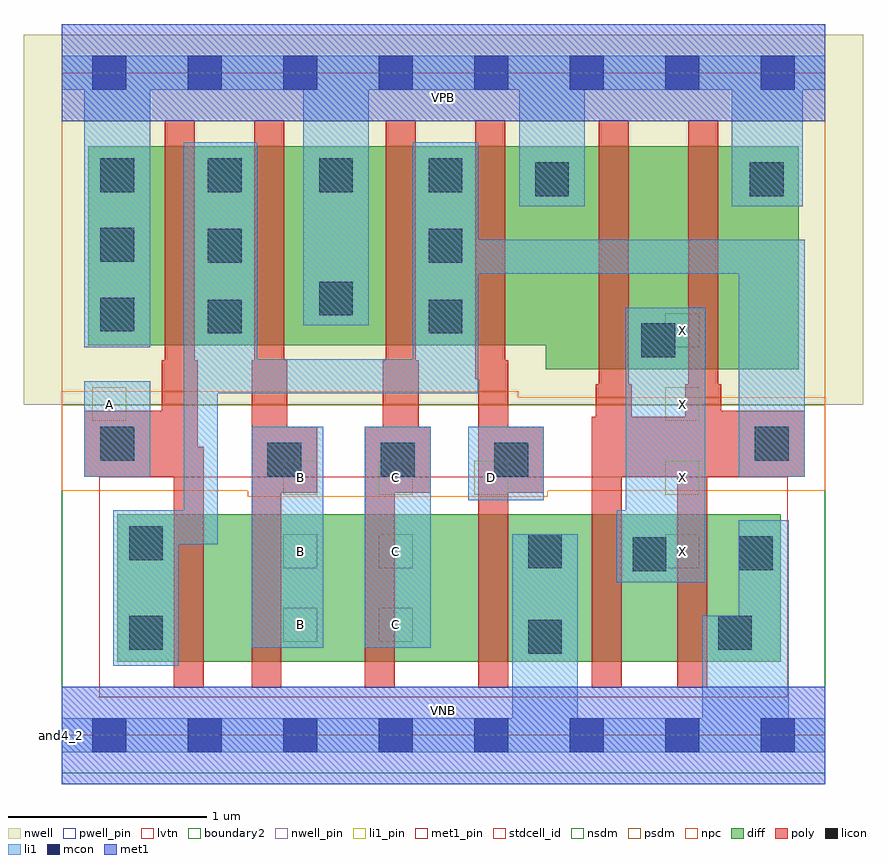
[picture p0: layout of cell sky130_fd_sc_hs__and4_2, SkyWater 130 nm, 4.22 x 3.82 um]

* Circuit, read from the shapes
.subckt sky130_fd_sc_hs__and4_2 A B C D VGND VNB VPB VPWR X
XM1 n1 A n2 VNB sky130_fd_pr__nfet_01v8_lvt w=0.74 l=0.15
XM2 n3 B n1 VNB sky130_fd_pr__nfet_01v8_lvt w=0.74 l=0.15
XM3 n4 C n3 VNB sky130_fd_pr__nfet_01v8_lvt w=0.74 l=0.15
XM4 VGND D n4 VNB sky130_fd_pr__nfet_01v8_lvt w=0.74 l=0.15
XM5 X n2 VGND VNB sky130_fd_pr__nfet_01v8_lvt w=0.74 l=0.15 m=2
XM6 n2 A VPWR VPB sky130_fd_pr__pfet_01v8 w=1 l=0.15
XM7 VPWR B n2 VPB sky130_fd_pr__pfet_01v8 w=1 l=0.15
XM8 n2 C VPWR VPB sky130_fd_pr__pfet_01v8 w=1 l=0.15
XM9 VPWR D n2 VPB sky130_fd_pr__pfet_01v8 w=1 l=0.15
XM10 X n2 VPWR VPB sky130_fd_pr__pfet_01v8 w=1.12 l=0.15 m=2
.ends

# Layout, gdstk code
import gdstk
lib = gdstk.Library(unit=1e-6, precision=1e-09)
def R(c, l, rs):  # rectangles x0, y0, x1, y1
    for r in rs: c.add(gdstk.rectangle(r[:2], r[2:], *l))
def A(c, l, x, y, w, h, nx, ny, dx, dy):  # array of equal rectangles
    R(c, l, [(x+i*dx, y+j*dy, x+i*dx+w, y+j*dy+h) for i in range(nx) for j in range(ny)])
def P(c, l, *ps):  # polygons
    for p in ps: c.add(gdstk.Polygon(p, *l))
nwell_pin = (64, 16)
nwell = (64, 20)
diff = (65, 20)
poly = (66, 20)
licon = (66, 44)
li1_pin = (67, 16)
li1 = (67, 20)
mcon = (67, 44)
met1_pin = (68, 16)
met1 = (68, 20)
stdcell_id = (81, 4)
nsdm = (93, 44)
psdm = (94, 20)
npc = (95, 20)
pwell_pin = (122, 16)
lvtn = (125, 44)
boundary2 = (236, 0)

sky130_fd_sc_hs__and4_2 = lib.new_cell('sky130_fd_sc_hs__and4_2')
R(sky130_fd_sc_hs__and4_2, nwell_pin, [(0,3.085,3.84,3.33)])
R(sky130_fd_sc_hs__and4_2, nwell, [(-0.19,1.66,4.03,3.52)])
R(sky130_fd_sc_hs__and4_2, diff, [(0.28,0.37,3.615,1.11)])
P(sky130_fd_sc_hs__and4_2, diff, [(3.705,2.96),(0.135,2.96),(0.135,1.96),(2.435,1.96),(2.435,1.84),(3.705,1.84)])
P(sky130_fd_sc_hs__and4_2, poly, [(3.735,1.63),(3.315,1.63),(3.315,1.765),(3.3,1.765),(3.3,3.09),(3.15,3.09),(3.15,1.765),(3.135,1.765),(3.135,1.6),(2.865,1.6),(2.865,1.765),(2.85,1.765),(2.85,3.09),(2.7,3.09),(2.7,1.765),(2.685,1.765),(2.685,1.6),(2.665,1.6),(2.665,0.24),(2.815,0.24),(2.815,1.3),(3.095,1.3),(3.095,0.24),(3.245,0.24),(3.245,1.3),(3.735,1.3)],
  [(2.425,1.55),(2.245,1.55),(2.245,1.885),(2.23,1.885),(2.23,3.09),(2.08,3.09),(2.08,1.79),(2.095,1.79),(2.095,0.24),(2.245,0.24),(2.245,1.22),(2.425,1.22)],
  [(1.855,1.55),(1.795,1.55),(1.795,1.885),(1.78,1.885),(1.78,3.09),(1.63,3.09),(1.63,1.885),(1.615,1.885),(1.615,1.55),(1.525,1.55),(1.525,0.24),(1.675,0.24),(1.675,1.22),(1.855,1.22)],
  [(1.285,1.55),(1.135,1.55),(1.135,1.885),(1.12,1.885),(1.12,3.09),(0.97,3.09),(0.97,1.885),(0.955,1.885),(0.955,0.24),(1.105,0.24),(1.105,1.22),(1.285,1.22)],
  [(0.715,1.45),(0.685,1.45),(0.685,1.885),(0.67,1.885),(0.67,3.09),(0.52,3.09),(0.52,1.885),(0.505,1.885),(0.505,1.63),(0.115,1.63),(0.115,1.3),(0.565,1.3),(0.565,0.24),(0.715,0.24)])
A(sky130_fd_sc_hs__and4_2, licon, 1.035, 1.3, 0.17, 0.17, 3, 1, 0.57, 0)
A(sky130_fd_sc_hs__and4_2, licon, 0.735, 2.02, 0.17, 0.17, 1, 3, 0, 0.355)
A(sky130_fd_sc_hs__and4_2, licon, 1.845, 2.02, 0.17, 0.17, 1, 3, 0, 0.355)
A(sky130_fd_sc_hs__and4_2, licon, 0.195, 2.03, 0.17, 0.17, 1, 3, 0, 0.35)
R(sky130_fd_sc_hs__and4_2, licon, [(2.345,0.41,2.515,0.58), (0.34,0.43,0.51,0.6), (3.3,0.43,3.47,0.6), (2.87,0.825,3.04,0.995), (3.405,0.83,3.575,1), (2.345,0.84,2.515,1.01), (0.34,0.88,0.51,1.05), (0.195,1.38,0.365,1.55), (3.485,1.38,3.655,1.55), (2.915,1.9,3.085,2.07), (1.295,2.11,1.465,2.28), (2.38,2.71,2.55,2.88), (3.46,2.71,3.63,2.88), (1.295,2.73,1.465,2.9)])
A(sky130_fd_sc_hs__and4_2, li1_pin, 3.035, 0.84, 0.17, 0.17, 1, 4, 0, 0.37)
A(sky130_fd_sc_hs__and4_2, li1_pin, 1.115, 1.21, 0.17, 0.17, 3, 1, 0.48, 0)
R(sky130_fd_sc_hs__and4_2, li1_pin, [(1.115,0.47,1.285,0.64), (1.595,0.47,1.765,0.64), (1.115,0.84,1.285,1.01), (1.595,0.84,1.765,1.01), (0.155,1.58,0.325,1.75)])
R(sky130_fd_sc_hs__and4_2, li1, [(0.955,0.44,1.315,1.55), (1.525,0.44,1.855,1.55), (2.045,1.18,2.425,1.55), (0.115,1.3,0.445,1.78)])
P(sky130_fd_sc_hs__and4_2, li1, [(3.37,2.66),(3.37,3.245),(2.63,3.245),(2.63,2.66),(2.3,2.66),(2.3,3.245),(1.545,3.245),(1.545,2.06),(1.215,2.06),(1.215,3.245),(0.445,3.245),(0.445,1.95),(0.115,1.95),(0.115,3.245),(0,3.245),(0,3.415),(3.84,3.415),(3.84,3.245),(3.725,3.245),(3.725,2.66)],
  [(3.84,0.085),(3.655,0.085),(3.655,1.08),(3.405,1.08),(3.405,0.6),(3.22,0.6),(3.22,0.085),(2.595,0.085),(2.595,1.01),(2.265,1.01),(2.265,0.085),(0,0.085),(0,-0.085),(3.84,-0.085)],
  [(0.785,0.96),(0.59,0.96),(0.59,0.35),(0.26,0.35),(0.26,1.13),(0.615,1.13),(0.615,2.98),(0.985,2.98),(0.985,1.89),(1.765,1.89),(1.765,2.98),(2.095,2.98),(2.095,2.49),(3.735,2.49),(3.735,1.3),(3.405,1.3),(3.405,2.32),(2.095,2.32),(2.095,1.72),(0.785,1.72)],
  [(2.835,1.13),(2.835,2.15),(3.235,2.15),(3.235,0.77),(2.79,0.77),(2.79,1.13)])
A(sky130_fd_sc_hs__and4_2, mcon, 0.155, -0.085, 0.17, 0.17, 8, 2, 0.48, 3.33)
R(sky130_fd_sc_hs__and4_2, met1_pin, [(0,0,3.84,0.245), (0,3.085,3.84,3.33)])
R(sky130_fd_sc_hs__and4_2, met1, [(0,-0.245,3.84,0.245), (0,3.085,3.84,3.575)])
R(sky130_fd_sc_hs__and4_2, stdcell_id, [(0,0,3.84,3.33)])
R(sky130_fd_sc_hs__and4_2, nsdm, [(0,-0.19,3.84,1.66)])
R(sky130_fd_sc_hs__and4_2, psdm, [(0,1.66,3.84,3.52)])
P(sky130_fd_sc_hs__and4_2, npc, [(3.84,1.7),(2.295,1.7),(2.295,1.73),(0,1.73),(0,1.23),(0.935,1.23),(0.935,1.2),(2.445,1.2),(2.445,1.23),(3.84,1.23)])
R(sky130_fd_sc_hs__and4_2, pwell_pin, [(0,0,3.84,0.245)])
R(sky130_fd_sc_hs__and4_2, lvtn, [(0.19,0.19,3.65,1.3)])
R(sky130_fd_sc_hs__and4_2, boundary2, [(0,0,3.84,3.33)])
sky130_fd_sc_hs__and4_2.add(gdstk.Label('and4_2', (0,0), layer=83, texttype=44))
sky130_fd_sc_hs__and4_2.add(gdstk.Label('VNB', (1.92,0.123), layer=64, texttype=59))
sky130_fd_sc_hs__and4_2.add(gdstk.Label('VPB', (1.92,3.208), layer=64, texttype=5))
sky130_fd_sc_hs__and4_2.add(gdstk.Label('VPWR', (1.92,3.208), layer=68, texttype=5))
sky130_fd_sc_hs__and4_2.add(gdstk.Label('VGND', (1.92,0.123), layer=68, texttype=5))
sky130_fd_sc_hs__and4_2.add(gdstk.Label('D', (2.16,1.295), layer=67, texttype=5))
sky130_fd_sc_hs__and4_2.add(gdstk.Label('C', (1.68,0.555), layer=67, texttype=5))
sky130_fd_sc_hs__and4_2.add(gdstk.Label('C', (1.68,0.925), layer=67, texttype=5))
sky130_fd_sc_hs__and4_2.add(gdstk.Label('C', (1.68,1.295), layer=67, texttype=5))
sky130_fd_sc_hs__and4_2.add(gdstk.Label('B', (1.2,0.555), layer=67, texttype=5))
sky130_fd_sc_hs__and4_2.add(gdstk.Label('B', (1.2,0.925), layer=67, texttype=5))
sky130_fd_sc_hs__and4_2.add(gdstk.Label('B', (1.2,1.295), layer=67, texttype=5))
sky130_fd_sc_hs__and4_2.add(gdstk.Label('A', (0.24,1.665), layer=67, texttype=5))
sky130_fd_sc_hs__and4_2.add(gdstk.Label('X', (3.12,0.925), layer=67, texttype=5))
sky130_fd_sc_hs__and4_2.add(gdstk.Label('X', (3.12,1.295), layer=67, texttype=5))
sky130_fd_sc_hs__and4_2.add(gdstk.Label('X', (3.12,1.665), layer=67, texttype=5))
sky130_fd_sc_hs__and4_2.add(gdstk.Label('X', (3.12,2.035), layer=67, texttype=5))

lib.write_gds('sky130_fd_sc_hs__and4_2.gds')
